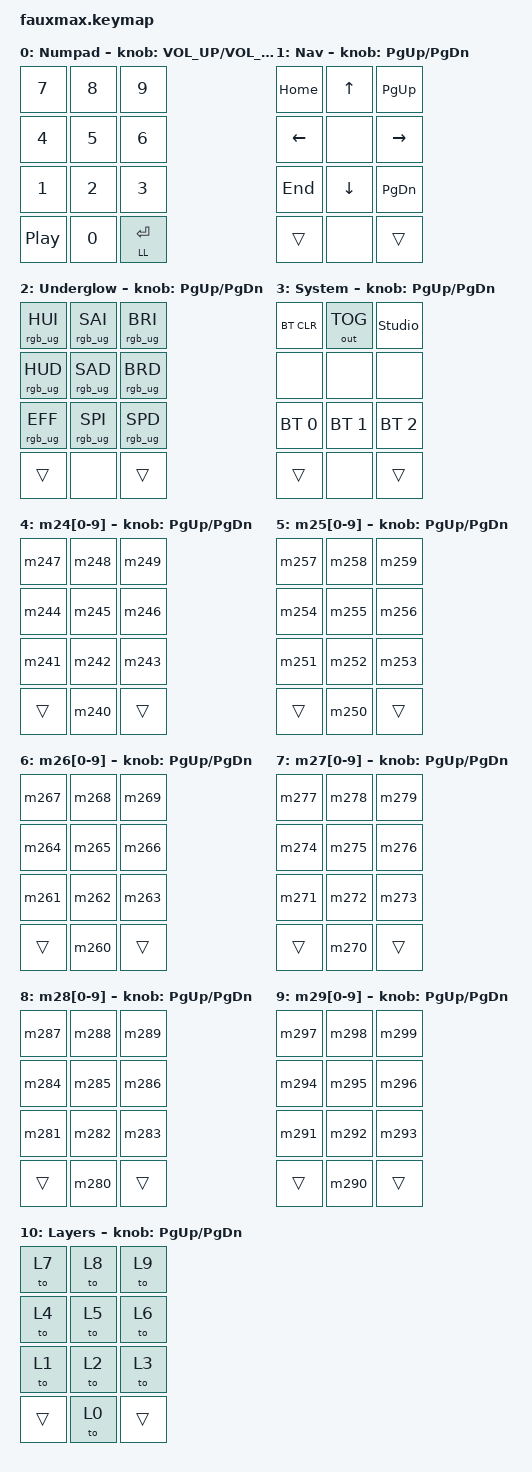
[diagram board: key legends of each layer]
/*
 * Copyright (c) 2020 The ZMK Contributors
 *
 * SPDX-License-Identifier: MIT
 */

#include <behaviors.dtsi>
#include <dt-bindings/zmk/bt.h>
#include <dt-bindings/zmk/keys.h>
#include <dt-bindings/zmk/rgb.h>
#include <dt-bindings/zmk/ext_power.h>
#include <dt-bindings/zmk/outputs.h>

#define LL  10

/ {
    behaviors {
        mo_tog: behavior_mo_tog {
            compatible = "zmk,behavior-hold-tap";
            #binding-cells = <2>;
            flavor = "hold-preferred";
            tapping-term-ms = <200>;
            bindings = <&mo>, <&kp>;
        };
    };


    macros {

m240: m240 {
    compatible = "zmk,behavior-macro";
    #binding-cells = <0>;
    tap-ms = <35>;
    bindings = <&macro_tap &kp M &kp N2 &kp N4 &kp N0 &kp RET>;
};
m241: m241 {
    compatible = "zmk,behavior-macro";
    #binding-cells = <0>;
    tap-ms = <35>;
    bindings = <&macro_tap &kp M &kp N2 &kp N4 &kp N1 &kp RET>;
};
m242: m242 {
    compatible = "zmk,behavior-macro";
    #binding-cells = <0>;
    tap-ms = <35>;
    bindings = <&macro_tap &kp M &kp N2 &kp N4 &kp N2 &kp RET>;
};
m243: m243 {
    compatible = "zmk,behavior-macro";
    #binding-cells = <0>;
    tap-ms = <35>;
    bindings = <&macro_tap &kp M &kp N2 &kp N4 &kp N3 &kp RET>;
};
m244: m244 {
    compatible = "zmk,behavior-macro";
    #binding-cells = <0>;
    tap-ms = <35>;
    bindings = <&macro_tap &kp M &kp N2 &kp N4 &kp N4 &kp RET>;
};
m245: m245 {
    compatible = "zmk,behavior-macro";
    #binding-cells = <0>;
    tap-ms = <35>;
    bindings = <&macro_tap &kp M &kp N2 &kp N4 &kp N5 &kp RET>;
};
m246: m246 {
    compatible = "zmk,behavior-macro";
    #binding-cells = <0>;
    tap-ms = <35>;
    bindings = <&macro_tap &kp M &kp N2 &kp N4 &kp N6 &kp RET>;
};
m247: m247 {
    compatible = "zmk,behavior-macro";
    #binding-cells = <0>;
    tap-ms = <35>;
    bindings = <&macro_tap &kp M &kp N2 &kp N4 &kp N7 &kp RET>;
};
m248: m248 {
    compatible = "zmk,behavior-macro";
    #binding-cells = <0>;
    tap-ms = <35>;
    bindings = <&macro_tap &kp M &kp N2 &kp N4 &kp N8 &kp RET>;
};
m249: m249 {
    compatible = "zmk,behavior-macro";
    #binding-cells = <0>;
    tap-ms = <35>;
    bindings = <&macro_tap &kp M &kp N2 &kp N4 &kp N9 &kp RET>;
};
m250: m250 {
    compatible = "zmk,behavior-macro";
    #binding-cells = <0>;
    tap-ms = <35>;
    bindings = <&macro_tap &kp M &kp N2 &kp N5 &kp N0 &kp RET>;
};
m251: m251 {
    compatible = "zmk,behavior-macro";
    #binding-cells = <0>;
    tap-ms = <35>;
    bindings = <&macro_tap &kp M &kp N2 &kp N5 &kp N1 &kp RET>;
};
m252: m252 {
    compatible = "zmk,behavior-macro";
    #binding-cells = <0>;
    tap-ms = <35>;
    bindings = <&macro_tap &kp M &kp N2 &kp N5 &kp N2 &kp RET>;
};
m253: m253 {
    compatible = "zmk,behavior-macro";
    #binding-cells = <0>;
    tap-ms = <35>;
    bindings = <&macro_tap &kp M &kp N2 &kp N5 &kp N3 &kp RET>;
};
m254: m254 {
    compatible = "zmk,behavior-macro";
    #binding-cells = <0>;
    tap-ms = <35>;
    bindings = <&macro_tap &kp M &kp N2 &kp N5 &kp N4 &kp RET>;
};
m255: m255 {
    compatible = "zmk,behavior-macro";
    #binding-cells = <0>;
    tap-ms = <35>;
    bindings = <&macro_tap &kp M &kp N2 &kp N5 &kp N5 &kp RET>;
};
m256: m256 {
    compatible = "zmk,behavior-macro";
    #binding-cells = <0>;
    tap-ms = <35>;
    bindings = <&macro_tap &kp M &kp N2 &kp N5 &kp N6 &kp RET>;
};
m257: m257 {
    compatible = "zmk,behavior-macro";
    #binding-cells = <0>;
    tap-ms = <35>;
    bindings = <&macro_tap &kp M &kp N2 &kp N5 &kp N7 &kp RET>;
};
m258: m258 {
    compatible = "zmk,behavior-macro";
    #binding-cells = <0>;
    tap-ms = <35>;
    bindings = <&macro_tap &kp M &kp N2 &kp N5 &kp N8 &kp RET>;
};
m259: m259 {
    compatible = "zmk,behavior-macro";
    #binding-cells = <0>;
    tap-ms = <35>;
    bindings = <&macro_tap &kp M &kp N2 &kp N5 &kp N9 &kp RET>;
};
m260: m260 {
    compatible = "zmk,behavior-macro";
    #binding-cells = <0>;
    tap-ms = <35>;
    bindings = <&macro_tap &kp M &kp N2 &kp N6 &kp N0 &kp RET>;
};
m261: m261 {
    compatible = "zmk,behavior-macro";
    #binding-cells = <0>;
    tap-ms = <35>;
    bindings = <&macro_tap &kp M &kp N2 &kp N6 &kp N1 &kp RET>;
};
m262: m262 {
    compatible = "zmk,behavior-macro";
    #binding-cells = <0>;
    tap-ms = <35>;
    bindings = <&macro_tap &kp M &kp N2 &kp N6 &kp N2 &kp RET>;
};
m263: m263 {
    compatible = "zmk,behavior-macro";
    #binding-cells = <0>;
    tap-ms = <35>;
    bindings = <&macro_tap &kp M &kp N2 &kp N6 &kp N3 &kp RET>;
};
m264: m264 {
    compatible = "zmk,behavior-macro";
    #binding-cells = <0>;
    tap-ms = <35>;
    bindings = <&macro_tap &kp M &kp N2 &kp N6 &kp N4 &kp RET>;
};
m265: m265 {
    compatible = "zmk,behavior-macro";
    #binding-cells = <0>;
    tap-ms = <35>;
    bindings = <&macro_tap &kp M &kp N2 &kp N6 &kp N5 &kp RET>;
};
m266: m266 {
    compatible = "zmk,behavior-macro";
    #binding-cells = <0>;
    tap-ms = <35>;
    bindings = <&macro_tap &kp M &kp N2 &kp N6 &kp N6 &kp RET>;
};
m267: m267 {
    compatible = "zmk,behavior-macro";
    #binding-cells = <0>;
    tap-ms = <35>;
    bindings = <&macro_tap &kp M &kp N2 &kp N6 &kp N7 &kp RET>;
};
m268: m268 {
    compatible = "zmk,behavior-macro";
    #binding-cells = <0>;
    tap-ms = <35>;
    bindings = <&macro_tap &kp M &kp N2 &kp N6 &kp N8 &kp RET>;
};
m269: m269 {
    compatible = "zmk,behavior-macro";
    #binding-cells = <0>;
    tap-ms = <35>;
    bindings = <&macro_tap &kp M &kp N2 &kp N6 &kp N9 &kp RET>;
};
m270: m270 {
    compatible = "zmk,behavior-macro";
    #binding-cells = <0>;
    tap-ms = <35>;
    bindings = <&macro_tap &kp M &kp N2 &kp N7 &kp N0 &kp RET>;
};
m271: m271 {
    compatible = "zmk,behavior-macro";
    #binding-cells = <0>;
    tap-ms = <35>;
    bindings = <&macro_tap &kp M &kp N2 &kp N7 &kp N1 &kp RET>;
};
m272: m272 {
    compatible = "zmk,behavior-macro";
    #binding-cells = <0>;
    tap-ms = <35>;
    bindings = <&macro_tap &kp M &kp N2 &kp N7 &kp N2 &kp RET>;
};
m273: m273 {
    compatible = "zmk,behavior-macro";
    #binding-cells = <0>;
    tap-ms = <35>;
    bindings = <&macro_tap &kp M &kp N2 &kp N7 &kp N3 &kp RET>;
};
m274: m274 {
    compatible = "zmk,behavior-macro";
    #binding-cells = <0>;
    tap-ms = <35>;
    bindings = <&macro_tap &kp M &kp N2 &kp N7 &kp N4 &kp RET>;
};
m275: m275 {
    compatible = "zmk,behavior-macro";
    #binding-cells = <0>;
    tap-ms = <35>;
    bindings = <&macro_tap &kp M &kp N2 &kp N7 &kp N5 &kp RET>;
};
m276: m276 {
    compatible = "zmk,behavior-macro";
    #binding-cells = <0>;
    tap-ms = <35>;
    bindings = <&macro_tap &kp M &kp N2 &kp N7 &kp N6 &kp RET>;
};
m277: m277 {
    compatible = "zmk,behavior-macro";
    #binding-cells = <0>;
    tap-ms = <35>;
    bindings = <&macro_tap &kp M &kp N2 &kp N7 &kp N7 &kp RET>;
};
m278: m278 {
    compatible = "zmk,behavior-macro";
    #binding-cells = <0>;
    tap-ms = <35>;
    bindings = <&macro_tap &kp M &kp N2 &kp N7 &kp N8 &kp RET>;
};
m279: m279 {
    compatible = "zmk,behavior-macro";
    #binding-cells = <0>;
    tap-ms = <35>;
    bindings = <&macro_tap &kp M &kp N2 &kp N7 &kp N9 &kp RET>;
};
m280: m280 {
    compatible = "zmk,behavior-macro";
    #binding-cells = <0>;
    tap-ms = <35>;
    bindings = <&macro_tap &kp M &kp N2 &kp N8 &kp N0 &kp RET>;
};
m281: m281 {
    compatible = "zmk,behavior-macro";
    #binding-cells = <0>;
    tap-ms = <35>;
    bindings = <&macro_tap &kp M &kp N2 &kp N8 &kp N1 &kp RET>;
};
m282: m282 {
    compatible = "zmk,behavior-macro";
    #binding-cells = <0>;
    tap-ms = <35>;
    bindings = <&macro_tap &kp M &kp N2 &kp N8 &kp N2 &kp RET>;
};
m283: m283 {
    compatible = "zmk,behavior-macro";
    #binding-cells = <0>;
    tap-ms = <35>;
    bindings = <&macro_tap &kp M &kp N2 &kp N8 &kp N3 &kp RET>;
};
m284: m284 {
    compatible = "zmk,behavior-macro";
    #binding-cells = <0>;
    tap-ms = <35>;
    bindings = <&macro_tap &kp M &kp N2 &kp N8 &kp N4 &kp RET>;
};
m285: m285 {
    compatible = "zmk,behavior-macro";
    #binding-cells = <0>;
    tap-ms = <35>;
    bindings = <&macro_tap &kp M &kp N2 &kp N8 &kp N5 &kp RET>;
};
m286: m286 {
    compatible = "zmk,behavior-macro";
    #binding-cells = <0>;
    tap-ms = <35>;
    bindings = <&macro_tap &kp M &kp N2 &kp N8 &kp N6 &kp RET>;
};
m287: m287 {
    compatible = "zmk,behavior-macro";
    #binding-cells = <0>;
    tap-ms = <35>;
    bindings = <&macro_tap &kp M &kp N2 &kp N8 &kp N7 &kp RET>;
};
m288: m288 {
    compatible = "zmk,behavior-macro";
    #binding-cells = <0>;
    tap-ms = <35>;
    bindings = <&macro_tap &kp M &kp N2 &kp N8 &kp N8 &kp RET>;
};
m289: m289 {
    compatible = "zmk,behavior-macro";
    #binding-cells = <0>;
    tap-ms = <35>;
    bindings = <&macro_tap &kp M &kp N2 &kp N8 &kp N9 &kp RET>;
};
m290: m290 {
    compatible = "zmk,behavior-macro";
    #binding-cells = <0>;
    tap-ms = <35>;
    bindings = <&macro_tap &kp M &kp N2 &kp N9 &kp N0 &kp RET>;
};
m291: m291 {
    compatible = "zmk,behavior-macro";
    #binding-cells = <0>;
    tap-ms = <35>;
    bindings = <&macro_tap &kp M &kp N2 &kp N9 &kp N1 &kp RET>;
};
m292: m292 {
    compatible = "zmk,behavior-macro";
    #binding-cells = <0>;
    tap-ms = <35>;
    bindings = <&macro_tap &kp M &kp N2 &kp N9 &kp N2 &kp RET>;
};
m293: m293 {
    compatible = "zmk,behavior-macro";
    #binding-cells = <0>;
    tap-ms = <35>;
    bindings = <&macro_tap &kp M &kp N2 &kp N9 &kp N3 &kp RET>;
};
m294: m294 {
    compatible = "zmk,behavior-macro";
    #binding-cells = <0>;
    tap-ms = <35>;
    bindings = <&macro_tap &kp M &kp N2 &kp N9 &kp N4 &kp RET>;
};
m295: m295 {
    compatible = "zmk,behavior-macro";
    #binding-cells = <0>;
    tap-ms = <35>;
    bindings = <&macro_tap &kp M &kp N2 &kp N9 &kp N5 &kp RET>;
};
m296: m296 {
    compatible = "zmk,behavior-macro";
    #binding-cells = <0>;
    tap-ms = <35>;
    bindings = <&macro_tap &kp M &kp N2 &kp N9 &kp N6 &kp RET>;
};
m297: m297 {
    compatible = "zmk,behavior-macro";
    #binding-cells = <0>;
    tap-ms = <35>;
    bindings = <&macro_tap &kp M &kp N2 &kp N9 &kp N7 &kp RET>;
};
m298: m298 {
    compatible = "zmk,behavior-macro";
    #binding-cells = <0>;
    tap-ms = <35>;
    bindings = <&macro_tap &kp M &kp N2 &kp N9 &kp N8 &kp RET>;
};
m299: m299 {
    compatible = "zmk,behavior-macro";
    #binding-cells = <0>;
    tap-ms = <35>;
    bindings = <&macro_tap &kp M &kp N2 &kp N9 &kp N9 &kp RET>;
};

    };

    keymap {
        compatible = "zmk,keymap";
        default_layer {
// --------------------------
// | 7      |  8  |  9      |
// | 4      |  5  |  6      |
// | 1      |  2  |  3      |
// | M_PLAY |  0  |  MO(10)  |
// --------------------------
            bindings = <
    &kp N7   &kp N8  &kp N9
    &kp N4   &kp N5  &kp N6
    &kp N1   &kp N2  &kp N3
    &kp C_PP &kp N0  &mo_tog LL RET
            >;
            display-name = "Numpad";

            sensor-bindings = <&inc_dec_kp C_VOL_UP C_VOL_DN>;
        };

         nav_layer {
// --------------------------
// | BT_CLR |  HOME |  PGUP |
// | _      |  END  |  PGDN |
// | _      |  _    |  _    |
// | _      |  _    |  _    |
// --------------------------
             bindings = <
     &kp HOME      &kp UP       &kp PG_UP
     &kp LEFT      &none        &kp RIGHT
     &kp END       &kp DOWN     &kp PG_DN
     &trans        &none        &trans
             >;
             display-name = "Nav";
             sensor-bindings = <&inc_dec_kp PG_UP PG_DN>;
         };


         glow_layer {
// --------------------------
// | BT_CLR |  HOME |  PGUP |
// | _      |  END  |  PGDN |
// | _      |  _    |  _    |
// | _      |  _    |  _    |
// --------------------------
             bindings = <
     &rgb_ug RGB_HUI  &rgb_ug RGB_SAI  &rgb_ug RGB_BRI
     &rgb_ug RGB_HUD  &rgb_ug RGB_SAD  &rgb_ug RGB_BRD
     &rgb_ug RGB_EFF  &rgb_ug RGB_SPI  &rgb_ug RGB_SPD
     &trans           &none        &trans
             >;
             display-name = "Underglow";
             sensor-bindings = <&inc_dec_kp PG_UP PG_DN>;
         };

         sys_layer {
// -----------------------
// | HOME | UP   | PGUP  |
// | LEFT | -    | RIGHT |
// | END  | DOWN | PGDN  |
// | _    |  _   |  _    |
// -----------------------
             bindings = <
     &bt BT_CLR    &out OUT_TOG  &studio_unlock
     &none         &none         &none
     &bt BT_SEL 0  &bt BT_SEL 1  &bt BT_SEL 2
     &trans        &none         &trans
             >;
             display-name = "System";
             sensor-bindings = <&inc_dec_kp PG_UP PG_DN>;
         };


24_layer {
    display-name = "m24[0-9]";
    sensor-bindings = <&inc_dec_kp PG_UP PG_DN>;
    bindings = <
      &m247   &m248   &m249
      &m244   &m245   &m246
      &m241   &m242   &m243
      &trans  &m240   &trans
     >;
};
25_layer {
    display-name = "m25[0-9]";
    sensor-bindings = <&inc_dec_kp PG_UP PG_DN>;
    bindings = <
      &m257   &m258   &m259
      &m254   &m255   &m256
      &m251   &m252   &m253
      &trans  &m250   &trans
     >;
};
26_layer {
    display-name = "m26[0-9]";
    sensor-bindings = <&inc_dec_kp PG_UP PG_DN>;
    bindings = <
      &m267   &m268   &m269
      &m264   &m265   &m266
      &m261   &m262   &m263
      &trans  &m260   &trans
     >;
};
27_layer {
    display-name = "m27[0-9]";
    sensor-bindings = <&inc_dec_kp PG_UP PG_DN>;
    bindings = <
      &m277   &m278   &m279
      &m274   &m275   &m276
      &m271   &m272   &m273
      &trans  &m270   &trans
     >;
};
28_layer {
    display-name = "m28[0-9]";
    sensor-bindings = <&inc_dec_kp PG_UP PG_DN>;
    bindings = <
      &m287   &m288   &m289
      &m284   &m285   &m286
      &m281   &m282   &m283
      &trans  &m280   &trans
     >;
};
29_layer {
    display-name = "m29[0-9]";
    sensor-bindings = <&inc_dec_kp PG_UP PG_DN>;
    bindings = <
      &m297   &m298   &m299
      &m294   &m295   &m296
      &m291   &m292   &m293
      &trans  &m290   &trans
     >;
};


    layer_layer {
         // Layer 10
// --------------------
// | L7  |  L8  |  L9 |
// | L4  |  L5  |  L6 |
// | L1  |  L2  |  L3 |
// | _   |  L0  |  _  |
// --------------------
             bindings = <
     &to 7         &to 8       &to 9
     &to 4         &to 5       &to 6
     &to 1         &to 2       &to 3
     &trans        &to 0       &trans
             >;
             display-name = "Layers";
             sensor-bindings = <&inc_dec_kp PG_UP PG_DN>;
         };
    };
};
